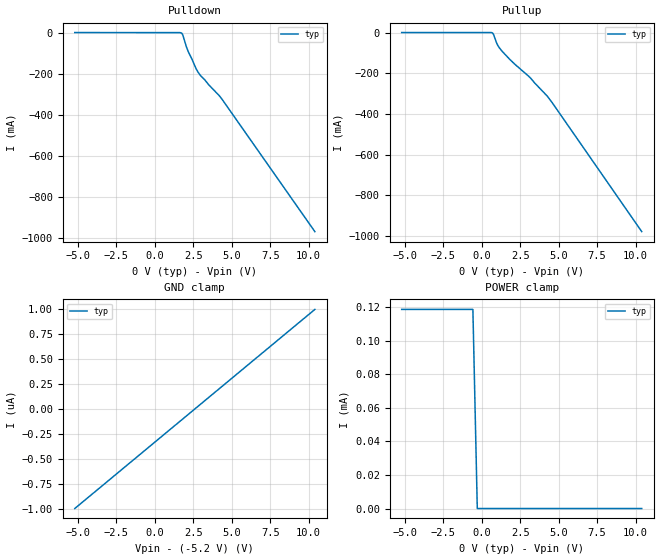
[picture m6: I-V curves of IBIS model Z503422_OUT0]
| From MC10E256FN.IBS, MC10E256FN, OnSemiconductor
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| (C) COPYRIGHT 1993-2000
| MENTOR GRAPHICS CORPORATION
| ICX STANDARD LIBRARY, ICX PROJECT MODELING,
| ICX CUSTOM MODELING, ICX VENDOR MODEL
| ALL RIGHTS RESERVED.
| THE FOLLOWING ARE TRADEMARKS OR SERVICE MARKS OF
| MENTOR GRAPHICS CORPORATION:ICX (R), ICX STANDARD
| LIBRARY(R), ICX PROJECT MODELING(R), ICX CUSTOM
| MODELING(R), qualityIBIS(TM), MODELVIEWER(TM),
| AND MODELEDITOR(TM)
| ALL COPIES OF SOFTWARE, INCLUDING BUT NOT LIMITED TO
| ANY MODIFICATIONS, ENHANCEMENTS OR DERIVATIVE WORKS,
| MUST CONTAIN ALL MENTOR GRAPHICS CORPORATION'S
| NOTICES AND LEGENDS, INCLUDING THOSE EMBEDDED IN
| SOFTWARE AND THOSE AFFIXED TO SOFTWARE MEDIUM
| AND CONTAINER, AS RECEIVED FROM MENTOR GRAPHICS
| CORPORATION.
| Model Application Version 1.89 2/18/99.
[Model] Z503422_OUT0
Model_type Output_ECL
Vref=-2.000V
Rref=50.00ohms
Cref=0.000F
Vmeas=-1.305V
C_comp 8.000pF NA NA
| variable typ   min   max
[Voltage Range] -5.200V NA NA
[POWER Clamp Reference] 0.000V NA NA
[Pullup Reference] 0.000V NA NA
[Pulldown Reference] 0.000V NA NA
[GND Clamp Reference] -5.200V NA NA
[GND Clamp]
-5.2V     -1uA       NA         NA
10.4V     1uA        NA         NA
[Pulldown]
-5.2V     462.5uA    NA         NA
1.738V    -2.099mA   NA         NA
1.829V    -13.65mA   NA         NA
2.046V    -67.47mA   NA         NA
2.178V    -93.32mA   NA         NA
2.672V    -173.8mA   NA         NA
2.809V    -192mA     NA         NA
2.988V    -210.3mA   NA         NA
4.365V    -323.3mA   NA         NA
10.4V     -966.8mA   NA         NA
[Pullup]
-5.2V     -19.52uA   NA         NA
702.4mV   -2.252mA   NA         NA
776.1mV   -10.44mA   NA         NA
1.035V    -61.6mA    NA         NA
1.324V    -91.94mA   NA         NA
2.169V    -157mA     NA         NA
3.174V    -223.9mA   NA         NA
4.256V    -312.3mA   NA         NA
4.563V    -343mA     NA         NA
10.4V     -979.2mA   NA         NA
[POWER Clamp]
-5.2V     118.8uA    NA         NA
-571.4mV  118.8uA    NA         NA
-285.7mV  0A         NA         NA
10.4V     0A         NA         NA
[Ramp]
| variable typ min max
dV/dt_r 590.0m/228.2p NA NA
dV/dt_f 590.0m/304.3p NA NA
R_load = 500.0Ohms
